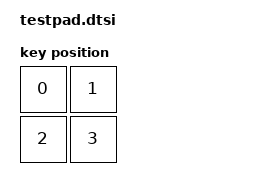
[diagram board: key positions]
#include <physical_layouts.dtsi>

/ {
    physical_layout0: physical_layout_0 {
        compatible = "zmk,physical-layout";
        display-name = "TestPad 2x2";

        kscan = <&kscan0>;
        transform = <&default_transform>;

        /*
         * Key positions:
         *
         *  Q   W
         *  A   S
         *
         * Width / Height: 100 = 1u
         * X / Y: position in centi-keyunits
         */
        keys
            = <&key_physical_attrs 100 100   0   0  0  0  0>
            , <&key_physical_attrs 100 100 100   0  0  0  0>
            , <&key_physical_attrs 100 100   0 100  0  0  0>
            , <&key_physical_attrs 100 100 100 100  0  0  0>
            ;
    };
};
